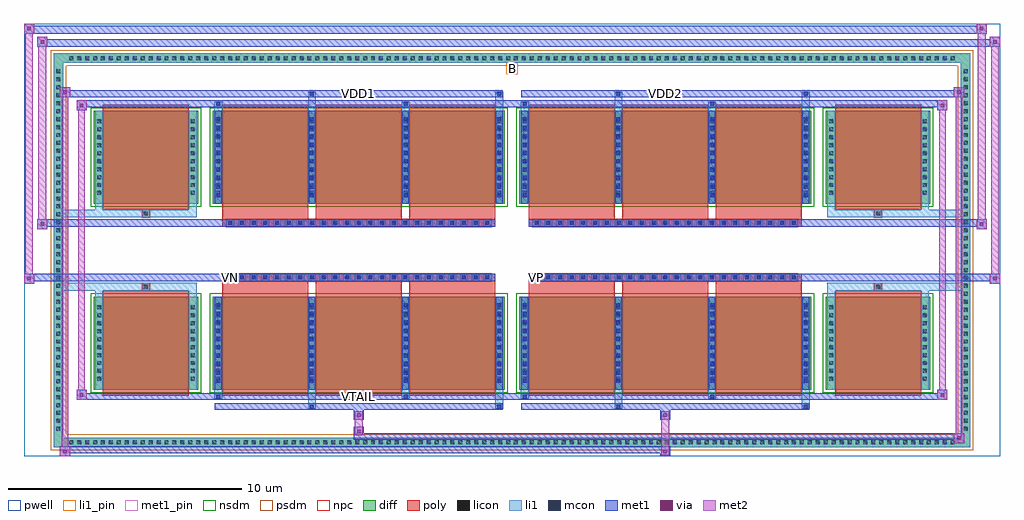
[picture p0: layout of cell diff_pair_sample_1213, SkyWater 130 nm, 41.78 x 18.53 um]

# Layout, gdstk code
import gdstk
lib = gdstk.Library(unit=1e-6, precision=5e-09)
def R(c, l, rs):  # rectangles x0, y0, x1, y1
    for r in rs: c.add(gdstk.rectangle(r[:2], r[2:], *l))
def A(c, l, x, y, w, h, nx, ny, dx, dy):  # array of equal rectangles
    R(c, l, [(x+i*dx, y+j*dy, x+i*dx+w, y+j*dy+h) for i in range(nx) for j in range(ny)])
def P(c, l, *ps):  # polygons
    for p in ps: c.add(gdstk.Polygon(p, *l))
pwell = (64, 44)
diff = (65, 20)
poly = (66, 20)
licon = (66, 44)
li1_pin = (67, 16)
li1 = (67, 20)
mcon = (67, 44)
met1_pin = (68, 16)
met1 = (68, 20)
via = (68, 44)
met2 = (69, 20)
nsdm = (93, 44)
psdm = (94, 20)
npc = (95, 20)

diff_pair_sample_1213 = lib.new_cell('diff_pair_sample_1213')
R(diff_pair_sample_1213, pwell, [(-20.89,-8.83,20.89,9.7), (-18.21,-7.02,-0.01,-0.8), (0.01,-7.02,18.21,-0.8), (-18.21,0.8,-0.01,7.02), (0.01,0.8,18.21,7.02)])
A(diff_pair_sample_1213, diff, -19.075, -8.43, 0.41, 0.41, 112, 2, 0.34, 16.45)
A(diff_pair_sample_1213, diff, -19.62, -7.855, 0.41, 0.41, 1, 46, 0, 0.34)
A(diff_pair_sample_1213, diff, 19.21, -7.855, 0.41, 0.41, 1, 46, 0, 0.34)
R(diff_pair_sample_1213, diff, [(-19.075,-8.43,19.075,-8.02), (-19.62,-7.855,-19.21,7.855), (19.21,-7.855,19.62,7.855), (-17.9,-5.975,-13.44,-1.985), (-12.8,-5.975,-0.32,-1.985), (0.32,-5.975,12.8,-1.985), (13.44,-5.975,17.9,-1.985), (-17.9,1.985,-13.44,5.975), (-12.8,1.985,-0.32,5.975), (0.32,1.985,12.8,5.975), (13.44,1.985,17.9,5.975), (-19.075,8.02,19.075,8.43)])
P(diff_pair_sample_1213, diff, [(19.62,8.43),(-19.62,8.43),(-19.62,-8.02),(-19.21,-8.02),(-19.21,8.02),(19.21,8.02),(19.21,-8.02),(-19.21,-8.02),(-19.62,-8.02),(-19.62,-8.43),(19.62,-8.43)])
A(diff_pair_sample_1213, poly, -12.41, -6.225, 3.68, 4.49, 3, 2, 4.01, 7.96)
A(diff_pair_sample_1213, poly, 0.71, -6.225, 3.68, 4.49, 3, 2, 4.01, 7.96)
A(diff_pair_sample_1213, poly, -12.41, -1.735, 3.68, 0.405, 3, 2, 4.01, 3.065)
A(diff_pair_sample_1213, poly, 0.71, -1.735, 3.68, 0.405, 3, 2, 4.01, 3.065)
A(diff_pair_sample_1213, poly, -12.225, -1.33, 0.33, 0.33, 23, 2, 0.5, 2.33)
A(diff_pair_sample_1213, poly, 0.895, -1.33, 0.33, 0.33, 23, 2, 0.5, 2.33)
R(diff_pair_sample_1213, poly, [(-17.51,-6.225,-13.83,-1.735), (13.83,-6.225,17.51,-1.735), (-15.835,-1.735,-15.505,-1.405), (-15.835,-1.735,-15.505,-1.405), (15.505,-1.735,15.835,-1.405), (15.505,-1.735,15.835,-1.405), (-12.41,-1.33,-0.71,-1), (0.71,-1.33,12.41,-1), (-12.41,1,-0.71,1.33), (0.71,1,12.41,1.33), (-15.835,1.405,-15.505,1.735), (-15.835,1.405,-15.505,1.735), (15.505,1.405,15.835,1.735), (15.505,1.405,15.835,1.735), (-17.51,1.735,-13.83,6.225), (13.83,1.735,17.51,6.225)])
A(diff_pair_sample_1213, licon, -18.955, -8.31, 0.17, 0.17, 112, 2, 0.34, 16.45)
A(diff_pair_sample_1213, licon, -19.5, -7.735, 0.17, 0.17, 1, 46, 0, 0.34)
A(diff_pair_sample_1213, licon, 19.33, -7.735, 0.17, 0.17, 1, 46, 0, 0.34)
A(diff_pair_sample_1213, licon, -17.76, -5.595, 0.17, 0.17, 1, 10, 0, 0.34)
A(diff_pair_sample_1213, licon, -13.75, -5.595, 0.17, 0.17, 1, 10, 0, 0.34)
A(diff_pair_sample_1213, licon, -12.66, -5.595, 0.17, 0.17, 4, 10, 4.01, 0.34)
A(diff_pair_sample_1213, licon, 0.46, -5.595, 0.17, 0.17, 4, 10, 4.01, 0.34)
A(diff_pair_sample_1213, licon, 13.58, -5.595, 0.17, 0.17, 1, 10, 0, 0.34)
A(diff_pair_sample_1213, licon, 17.59, -5.595, 0.17, 0.17, 1, 10, 0, 0.34)
A(diff_pair_sample_1213, licon, -12.145, -1.25, 0.17, 0.17, 23, 2, 0.5, 2.33)
A(diff_pair_sample_1213, licon, 0.975, -1.25, 0.17, 0.17, 23, 2, 0.5, 2.33)
A(diff_pair_sample_1213, licon, -17.76, 2.365, 0.17, 0.17, 1, 10, 0, 0.34)
A(diff_pair_sample_1213, licon, -13.75, 2.365, 0.17, 0.17, 1, 10, 0, 0.34)
A(diff_pair_sample_1213, licon, -12.66, 2.365, 0.17, 0.17, 4, 10, 4.01, 0.34)
A(diff_pair_sample_1213, licon, 0.46, 2.365, 0.17, 0.17, 4, 10, 4.01, 0.34)
A(diff_pair_sample_1213, licon, 13.58, 2.365, 0.17, 0.17, 1, 10, 0, 0.34)
A(diff_pair_sample_1213, licon, 17.59, 2.365, 0.17, 0.17, 1, 10, 0, 0.34)
R(diff_pair_sample_1213, licon, [(-15.755,-1.655,-15.585,-1.485), (15.585,-1.655,15.755,-1.485), (-15.755,1.485,-15.585,1.655), (15.585,1.485,15.755,1.655)])
R(diff_pair_sample_1213, li1_pin, [(-0.25,7.52,0.25,8.02)])
A(diff_pair_sample_1213, li1, -19.035, -8.39, 0.33, 0.33, 112, 2, 0.34, 16.45)
A(diff_pair_sample_1213, li1, -19.58, -7.815, 0.33, 0.33, 1, 46, 0, 0.34)
A(diff_pair_sample_1213, li1, 19.25, -7.815, 0.33, 0.33, 1, 46, 0, 0.34)
A(diff_pair_sample_1213, li1, -12.74, -5.975, 0.33, 3.99, 4, 2, 4.01, 7.96)
A(diff_pair_sample_1213, li1, 0.38, -5.975, 0.33, 3.99, 4, 2, 4.01, 7.96)
A(diff_pair_sample_1213, li1, -12.66, -5.685, 0.17, 0.17, 4, 10, 4.01, 0.36)
A(diff_pair_sample_1213, li1, -12.66, -5.685, 0.17, 3.41, 4, 2, 4.01, 7.96)
A(diff_pair_sample_1213, li1, 0.46, -5.685, 0.17, 0.17, 4, 10, 4.01, 0.36)
A(diff_pair_sample_1213, li1, 0.46, -5.685, 0.17, 3.41, 4, 2, 4.01, 7.96)
A(diff_pair_sample_1213, li1, -17.84, -5.675, 0.33, 0.33, 1, 10, 0, 0.34)
A(diff_pair_sample_1213, li1, -13.83, -5.675, 0.33, 0.33, 1, 10, 0, 0.34)
A(diff_pair_sample_1213, li1, -12.74, -5.675, 0.33, 0.33, 4, 10, 4.01, 0.34)
A(diff_pair_sample_1213, li1, 0.38, -5.675, 0.33, 0.33, 4, 10, 4.01, 0.34)
A(diff_pair_sample_1213, li1, 13.5, -5.675, 0.33, 0.33, 1, 10, 0, 0.34)
A(diff_pair_sample_1213, li1, 17.51, -5.675, 0.33, 0.33, 1, 10, 0, 0.34)
A(diff_pair_sample_1213, li1, -12.225, -1.33, 0.33, 0.33, 23, 2, 0.5, 2.33)
A(diff_pair_sample_1213, li1, 0.895, -1.33, 0.33, 0.33, 23, 2, 0.5, 2.33)
A(diff_pair_sample_1213, li1, -12.66, 2.275, 0.17, 0.17, 4, 10, 4.01, 0.36)
A(diff_pair_sample_1213, li1, 0.46, 2.275, 0.17, 0.17, 4, 10, 4.01, 0.36)
A(diff_pair_sample_1213, li1, -17.84, 2.285, 0.33, 0.33, 1, 10, 0, 0.34)
A(diff_pair_sample_1213, li1, -13.83, 2.285, 0.33, 0.33, 1, 10, 0, 0.34)
A(diff_pair_sample_1213, li1, -12.74, 2.285, 0.33, 0.33, 4, 10, 4.01, 0.34)
A(diff_pair_sample_1213, li1, 0.38, 2.285, 0.33, 0.33, 4, 10, 4.01, 0.34)
A(diff_pair_sample_1213, li1, 13.5, 2.285, 0.33, 0.33, 1, 10, 0, 0.34)
A(diff_pair_sample_1213, li1, 17.51, 2.285, 0.33, 0.33, 1, 10, 0, 0.34)
R(diff_pair_sample_1213, li1, [(-19.62,-8.43,-19.21,-8.02), (-19.62,-8.43,-19.21,-8.02), (-19.21,-8.43,19.21,-8.02), (19.21,-8.43,19.62,-8.02), (19.21,-8.43,19.62,-8.02), (-19.62,-8.02,-19.21,8.02), (19.21,-8.02,19.62,8.02), (-8.73,-6.78,-8.4,-5.975), (-8.65,-6.78,-8.48,-6.61), (-0.71,-6.78,-0.38,-5.975), (-0.63,-6.78,-0.46,-6.61), (4.39,-6.78,4.72,-5.975), (4.47,-6.78,4.64,-6.61), (12.41,-6.78,12.74,-5.975), (12.49,-6.78,12.66,-6.61), (-12.74,-6.35,-12.41,-5.975), (-12.66,-6.35,-12.49,-6.18), (-4.72,-6.35,-4.39,-5.975), (-4.64,-6.35,-4.47,-6.18), (0.38,-6.35,0.71,-5.975), (0.46,-6.35,0.63,-6.18), (8.4,-6.35,8.73,-5.975), (8.48,-6.35,8.65,-6.18), (-17.84,-5.975,-17.51,-1.985), (-13.83,-5.975,-13.5,-1.985), (13.5,-5.975,13.83,-1.985), (17.51,-5.975,17.84,-1.985), (-17.84,-1.985,-17.51,-1.405), (-13.83,-1.985,-13.5,-1.405), (13.5,-1.985,13.83,-1.405), (17.51,-1.985,17.84,-1.405), (-19.62,-1.735,-15.835,-1.405), (-17.84,-1.735,-15.835,-1.405), (-15.835,-1.735,-15.505,-1.405), (-15.505,-1.735,-13.5,-1.405), (13.5,-1.735,15.505,-1.405), (15.505,-1.735,15.835,-1.405), (15.505,-1.735,19.62,-1.405), (15.835,-1.735,17.84,-1.405), (-19.62,1.405,-15.835,1.735), (-17.84,1.405,-15.835,1.735), (-17.84,1.405,-17.51,1.985), (-15.835,1.405,-15.505,1.735), (-15.505,1.405,-13.5,1.735), (-13.83,1.405,-13.5,1.985), (13.5,1.405,15.505,1.735), (13.5,1.405,13.83,1.985), (15.505,1.405,15.835,1.735), (15.505,1.405,19.62,1.735), (15.835,1.405,17.84,1.735), (17.51,1.405,17.84,1.985), (-17.84,1.985,-17.51,5.975), (-13.83,1.985,-13.5,5.975), (13.5,1.985,13.83,5.975), (17.51,1.985,17.84,5.975), (-12.74,5.975,-12.41,6.35), (-8.73,5.975,-8.4,6.78), (-4.72,5.975,-4.39,6.35), (-0.71,5.975,-0.38,6.78), (0.38,5.975,0.71,6.35), (4.39,5.975,4.72,6.78), (8.4,5.975,8.73,6.35), (12.41,5.975,12.74,6.78), (-12.66,6.18,-12.49,6.35), (-4.64,6.18,-4.47,6.35), (0.46,6.18,0.63,6.35), (8.48,6.18,8.65,6.35), (-8.65,6.61,-8.48,6.78), (-0.63,6.61,-0.46,6.78), (4.47,6.61,4.64,6.78), (12.49,6.61,12.66,6.78), (-19.62,8.02,-19.21,8.43), (-19.62,8.02,-19.21,8.43), (-19.21,8.02,19.21,8.43), (19.21,8.02,19.62,8.43), (19.21,8.02,19.62,8.43)])
A(diff_pair_sample_1213, mcon, -12.66, -5.685, 0.17, 0.17, 4, 10, 4.01, 0.36)
A(diff_pair_sample_1213, mcon, 0.46, -5.685, 0.17, 0.17, 4, 10, 4.01, 0.36)
A(diff_pair_sample_1213, mcon, -12.145, -1.25, 0.17, 0.17, 23, 2, 0.5, 2.33)
A(diff_pair_sample_1213, mcon, 0.975, -1.25, 0.17, 0.17, 23, 2, 0.5, 2.33)
A(diff_pair_sample_1213, mcon, -12.66, 2.275, 0.17, 0.17, 4, 10, 4.01, 0.36)
A(diff_pair_sample_1213, mcon, 0.46, 2.275, 0.17, 0.17, 4, 10, 4.01, 0.36)
R(diff_pair_sample_1213, mcon, [(-8.65,-6.78,-8.48,-6.61), (-0.63,-6.78,-0.46,-6.61), (4.47,-6.78,4.64,-6.61), (12.49,-6.78,12.66,-6.61), (-12.66,-6.35,-12.49,-6.18), (-4.64,-6.35,-4.47,-6.18), (0.46,-6.35,0.63,-6.18), (8.48,-6.35,8.65,-6.18), (-12.66,6.18,-12.49,6.35), (-4.64,6.18,-4.47,6.35), (0.46,6.18,0.63,6.35), (8.48,6.18,8.65,6.35), (-8.65,6.61,-8.48,6.78), (-0.63,6.61,-0.46,6.78), (4.47,6.61,4.64,6.78), (12.49,6.61,12.66,6.78)])
R(diff_pair_sample_1213, met1_pin, [(-6.695,-6.39,-6.425,-6.12), (-12.195,-1.29,-11.925,-1.02), (0.925,-1.29,1.195,-1.02), (-6.695,6.57,-6.425,6.84), (6.425,6.57,6.695,6.84)])
A(diff_pair_sample_1213, met1, -12.72, -5.975, 0.29, 3.99, 4, 2, 4.01, 7.96)
A(diff_pair_sample_1213, met1, 0.4, -5.975, 0.29, 3.99, 4, 2, 4.01, 7.96)
A(diff_pair_sample_1213, met1, -12.72, -5.745, 0.29, 0.29, 4, 10, 4.01, 0.36)
A(diff_pair_sample_1213, met1, 0.4, -5.745, 0.29, 0.29, 4, 10, 4.01, 0.36)
A(diff_pair_sample_1213, met1, -12.205, -1.31, 0.29, 0.29, 23, 2, 0.5, 2.33)
A(diff_pair_sample_1213, met1, 0.915, -1.31, 0.29, 0.29, 23, 2, 0.5, 2.33)
A(diff_pair_sample_1213, met1, -12.72, 2.215, 0.29, 0.29, 4, 10, 4.01, 0.36)
A(diff_pair_sample_1213, met1, 0.4, 2.215, 0.29, 0.29, 4, 10, 4.01, 0.36)
R(diff_pair_sample_1213, met1, [(-19.35,-8.83,-18.92,-8.4), (6.345,-8.83,6.775,-8.4), (-19.35,-8.69,6.775,-8.4), (18.92,-8.26,19.35,-7.83), (-6.775,-8.12,19.35,-7.83), (-6.775,-7.98,-6.345,-7.55), (-6.775,-7.27,-6.345,-6.84), (6.345,-7.27,6.775,-6.84), (-12.72,-6.84,-0.4,-6.55), (-8.71,-6.84,-8.42,-6.55), (-0.69,-6.84,-0.4,-6.55), (0.4,-6.84,12.72,-6.55), (4.41,-6.84,4.7,-6.55), (12.43,-6.84,12.72,-6.55), (-18.64,-6.41,-18.21,-5.98), (-18.64,-6.41,-12.72,-6.12), (-12.72,-6.41,-12.43,-6.12), (-12.72,-6.41,-0.4,-6.12), (-4.7,-6.41,-4.41,-6.12), (-0.4,-6.41,0.4,-6.12), (0.4,-6.41,0.69,-6.12), (0.4,-6.41,12.72,-6.12), (8.42,-6.41,8.71,-6.12), (12.72,-6.41,18.64,-6.12), (18.21,-6.41,18.64,-5.98), (-20.89,-1.43,-20.46,-1), (20.46,-1.43,20.89,-1), (-20.89,-1.33,-0.71,-1), (-12.41,-1.33,-0.71,-1), (0.71,-1.33,12.41,-1), (0.71,-1.33,20.89,-1), (-20.32,0.9,-19.89,1.33), (19.89,0.9,20.32,1.33), (-20.32,1,-12.41,1.33), (-12.41,1,-0.71,1.33), (0.71,1,12.41,1.33), (12.41,1,20.32,1.33), (-18.64,5.98,-18.21,6.41), (18.21,5.98,18.64,6.41), (-18.64,6.12,-12.72,6.41), (-12.72,6.12,-12.43,6.41), (-12.72,6.12,-0.4,6.41), (-4.7,6.12,-4.41,6.41), (-0.4,6.12,0.4,6.41), (0.4,6.12,0.69,6.41), (0.4,6.12,12.72,6.41), (8.42,6.12,8.71,6.41), (12.72,6.12,18.64,6.41), (-19.35,6.55,-18.92,6.98), (-19.35,6.55,-12.72,6.84), (-12.72,6.55,-0.4,6.84), (-8.71,6.55,-8.42,6.84), (-0.69,6.55,-0.4,6.84), (0.4,6.55,12.72,6.84), (4.41,6.55,4.7,6.84), (12.43,6.55,12.72,6.84), (12.72,6.55,19.35,6.84), (18.92,6.55,19.35,6.98), (-20.32,8.7,-19.89,9.13), (-20.32,8.7,-18.21,9.03), (-18.21,8.7,18.21,9.03), (18.21,8.7,20.89,9.03), (20.46,8.7,20.89,9.13), (-20.89,9.27,-20.46,9.7), (-20.89,9.27,-18.21,9.6), (-18.21,9.27,18.21,9.6), (18.21,9.27,20.32,9.6), (19.89,9.27,20.32,9.7)])
R(diff_pair_sample_1213, via, [(-19.21,-8.69,-19.06,-8.54), (6.485,-8.69,6.635,-8.54), (19.06,-8.12,19.21,-7.97), (-6.635,-7.84,-6.485,-7.69), (-6.635,-7.13,-6.485,-6.98), (6.485,-7.13,6.635,-6.98), (-18.5,-6.27,-18.35,-6.12), (18.35,-6.27,18.5,-6.12), (-20.75,-1.29,-20.6,-1.14), (20.6,-1.29,20.75,-1.14), (-20.18,1.04,-20.03,1.19), (20.03,1.04,20.18,1.19), (-18.5,6.12,-18.35,6.27), (18.35,6.12,18.5,6.27), (-19.21,6.69,-19.06,6.84), (19.06,6.69,19.21,6.84), (-20.18,8.84,-20.03,8.99), (20.6,8.84,20.75,8.99), (-20.75,9.41,-20.6,9.56), (20.03,9.41,20.18,9.56)])
R(diff_pair_sample_1213, met2, [(-19.35,-8.83,-18.92,-8.4), (-19.28,-8.83,-18.99,6.98), (-18.99,-8.83,-18.92,-8.4), (-19.3,-8.78,-18.97,-8.45), (6.395,-8.78,6.725,-8.45), (6.395,-8.45,6.725,-7.22), (18.92,-8.26,19.35,-7.83), (18.99,-8.26,19.28,6.98), (19.28,-8.26,19.35,-7.83), (18.97,-8.21,19.3,-7.88), (-6.725,-7.93,-6.395,-7.6), (-6.725,-7.6,-6.395,-7.22), (-6.725,-7.22,-6.395,-6.89), (6.395,-7.22,6.725,-6.89), (-18.64,-6.41,-18.21,-5.98), (-18.57,-6.41,-18.28,6.41), (-18.28,-6.41,-18.21,-5.98), (18.21,-6.41,18.64,-5.98), (18.28,-6.41,18.57,6.41), (18.57,-6.41,18.64,-5.98), (-18.59,-6.36,-18.26,-6.03), (18.26,-6.36,18.59,-6.03), (-20.89,-1.43,-20.46,-1), (-20.84,-1.43,-20.51,9.7), (-20.51,-1.43,-20.46,-1), (20.46,-1.43,20.89,-1), (20.51,-1.43,20.84,9.13), (20.84,-1.43,20.89,-1), (-20.84,-1.38,-20.51,-1.05), (20.51,-1.38,20.84,-1.05), (-20.32,0.9,-19.89,1.33), (-20.27,0.9,-19.94,9.13), (-19.94,0.9,-19.89,1.33), (19.89,0.9,20.32,1.33), (19.94,0.9,20.27,9.7), (20.27,0.9,20.32,1.33), (-20.27,0.95,-19.94,1.28), (19.94,0.95,20.27,1.28), (-18.64,5.98,-18.21,6.41), (-18.28,5.98,-18.21,6.41), (18.21,5.98,18.64,6.41), (18.57,5.98,18.64,6.41), (-18.59,6.03,-18.26,6.36), (18.26,6.03,18.59,6.36), (-19.35,6.55,-18.92,6.98), (-18.99,6.55,-18.92,6.98), (18.92,6.55,19.35,6.98), (19.28,6.55,19.35,6.98), (-19.3,6.6,-18.97,6.93), (18.97,6.6,19.3,6.93), (-20.32,8.7,-19.89,9.13), (-19.94,8.7,-19.89,9.13), (20.46,8.7,20.89,9.13), (20.84,8.7,20.89,9.13), (-20.27,8.75,-19.94,9.08), (20.51,8.75,20.84,9.08), (-20.89,9.27,-20.46,9.7), (-20.51,9.27,-20.46,9.7), (19.89,9.27,20.32,9.7), (20.27,9.27,20.32,9.7), (-20.84,9.32,-20.51,9.65), (19.94,9.32,20.27,9.65)])
R(diff_pair_sample_1213, nsdm, [(-18.03,-6.105,-13.31,-1.855), (-12.93,-6.105,-0.19,-1.855), (0.19,-6.105,12.93,-1.855), (13.31,-6.105,18.03,-1.855), (-18.03,1.855,-13.31,6.105), (-12.93,1.855,-0.19,6.105), (0.19,1.855,12.93,6.105), (13.31,1.855,18.03,6.105)])
P(diff_pair_sample_1213, psdm, [(19.75,8.56),(-19.75,8.56),(-19.75,-7.89),(-19.08,-7.89),(-19.08,7.89),(19.08,7.89),(19.08,-7.89),(-19.08,-7.89),(-19.75,-7.89),(-19.75,-8.56),(19.75,-8.56)])
A(diff_pair_sample_1213, npc, -12.245, -1.35, 0.37, 0.37, 23, 2, 0.5, 2.33)
A(diff_pair_sample_1213, npc, 0.875, -1.35, 0.37, 0.37, 23, 2, 0.5, 2.33)
R(diff_pair_sample_1213, npc, [(-15.855,-1.755,-15.485,-1.385), (15.485,-1.755,15.855,-1.385), (-12.245,-1.35,-11.375,-0.98), (-12.245,-1.35,-11.375,-0.98), (-11.745,-1.35,-10.875,-0.98), (-11.745,-1.35,-10.875,-0.98), (-11.245,-1.35,-10.375,-0.98), (-11.245,-1.35,-10.375,-0.98), (-10.745,-1.35,-9.875,-0.98), (-10.745,-1.35,-9.875,-0.98), (-10.245,-1.35,-9.375,-0.98), (-10.245,-1.35,-9.375,-0.98), (-9.745,-1.35,-8.875,-0.98), (-9.745,-1.35,-8.875,-0.98), (-9.245,-1.35,-8.375,-0.98), (-9.245,-1.35,-8.375,-0.98), (-8.745,-1.35,-7.875,-0.98), (-8.745,-1.35,-7.875,-0.98), (-8.245,-1.35,-7.375,-0.98), (-8.245,-1.35,-7.375,-0.98), (-7.745,-1.35,-6.875,-0.98), (-7.745,-1.35,-6.875,-0.98), (-7.245,-1.35,-6.375,-0.98), (-7.245,-1.35,-6.375,-0.98), (-6.745,-1.35,-5.875,-0.98), (-6.745,-1.35,-5.875,-0.98), (-6.245,-1.35,-5.375,-0.98), (-6.245,-1.35,-5.375,-0.98), (-5.745,-1.35,-4.875,-0.98), (-5.745,-1.35,-4.875,-0.98), (-5.245,-1.35,-4.375,-0.98), (-5.245,-1.35,-4.375,-0.98), (-4.745,-1.35,-3.875,-0.98), (-4.745,-1.35,-3.875,-0.98), (-4.245,-1.35,-3.375,-0.98), (-4.245,-1.35,-3.375,-0.98), (-3.745,-1.35,-2.875,-0.98), (-3.745,-1.35,-2.875,-0.98), (-3.245,-1.35,-2.375,-0.98), (-3.245,-1.35,-2.375,-0.98), (-2.745,-1.35,-1.875,-0.98), (-2.745,-1.35,-1.875,-0.98), (-2.245,-1.35,-1.375,-0.98), (-2.245,-1.35,-1.375,-0.98), (-1.745,-1.35,-0.875,-0.98), (-1.745,-1.35,-0.875,-0.98), (0.875,-1.35,1.745,-0.98), (0.875,-1.35,1.745,-0.98), (1.375,-1.35,2.245,-0.98), (1.375,-1.35,2.245,-0.98), (1.875,-1.35,2.745,-0.98), (1.875,-1.35,2.745,-0.98), (2.375,-1.35,3.245,-0.98), (2.375,-1.35,3.245,-0.98), (2.875,-1.35,3.745,-0.98), (2.875,-1.35,3.745,-0.98), (3.375,-1.35,4.245,-0.98), (3.375,-1.35,4.245,-0.98), (3.875,-1.35,4.745,-0.98), (3.875,-1.35,4.745,-0.98), (4.375,-1.35,5.245,-0.98), (4.375,-1.35,5.245,-0.98), (4.875,-1.35,5.745,-0.98), (4.875,-1.35,5.745,-0.98), (5.375,-1.35,6.245,-0.98), (5.375,-1.35,6.245,-0.98), (5.875,-1.35,6.745,-0.98), (5.875,-1.35,6.745,-0.98), (6.375,-1.35,7.245,-0.98), (6.375,-1.35,7.245,-0.98), (6.875,-1.35,7.745,-0.98), (6.875,-1.35,7.745,-0.98), (7.375,-1.35,8.245,-0.98), (7.375,-1.35,8.245,-0.98), (7.875,-1.35,8.745,-0.98), (7.875,-1.35,8.745,-0.98), (8.375,-1.35,9.245,-0.98), (8.375,-1.35,9.245,-0.98), (8.875,-1.35,9.745,-0.98), (8.875,-1.35,9.745,-0.98), (9.375,-1.35,10.245,-0.98), (9.375,-1.35,10.245,-0.98), (9.875,-1.35,10.745,-0.98), (9.875,-1.35,10.745,-0.98), (10.375,-1.35,11.245,-0.98), (10.375,-1.35,11.245,-0.98), (10.875,-1.35,11.745,-0.98), (10.875,-1.35,11.745,-0.98), (11.375,-1.35,12.245,-0.98), (11.375,-1.35,12.245,-0.98), (-12.245,0.98,-11.375,1.35), (-12.245,0.98,-11.375,1.35), (-11.745,0.98,-10.875,1.35), (-11.745,0.98,-10.875,1.35), (-11.245,0.98,-10.375,1.35), (-11.245,0.98,-10.375,1.35), (-10.745,0.98,-9.875,1.35), (-10.745,0.98,-9.875,1.35), (-10.245,0.98,-9.375,1.35), (-10.245,0.98,-9.375,1.35), (-9.745,0.98,-8.875,1.35), (-9.745,0.98,-8.875,1.35), (-9.245,0.98,-8.375,1.35), (-9.245,0.98,-8.375,1.35), (-8.745,0.98,-7.875,1.35), (-8.745,0.98,-7.875,1.35), (-8.245,0.98,-7.375,1.35), (-8.245,0.98,-7.375,1.35), (-7.745,0.98,-6.875,1.35), (-7.745,0.98,-6.875,1.35), (-7.245,0.98,-6.375,1.35), (-7.245,0.98,-6.375,1.35), (-6.745,0.98,-5.875,1.35), (-6.745,0.98,-5.875,1.35), (-6.245,0.98,-5.375,1.35), (-6.245,0.98,-5.375,1.35), (-5.745,0.98,-4.875,1.35), (-5.745,0.98,-4.875,1.35), (-5.245,0.98,-4.375,1.35), (-5.245,0.98,-4.375,1.35), (-4.745,0.98,-3.875,1.35), (-4.745,0.98,-3.875,1.35), (-4.245,0.98,-3.375,1.35), (-4.245,0.98,-3.375,1.35), (-3.745,0.98,-2.875,1.35), (-3.745,0.98,-2.875,1.35), (-3.245,0.98,-2.375,1.35), (-3.245,0.98,-2.375,1.35), (-2.745,0.98,-1.875,1.35), (-2.745,0.98,-1.875,1.35), (-2.245,0.98,-1.375,1.35), (-2.245,0.98,-1.375,1.35), (-1.745,0.98,-0.875,1.35), (-1.745,0.98,-0.875,1.35), (0.875,0.98,1.745,1.35), (0.875,0.98,1.745,1.35), (1.375,0.98,2.245,1.35), (1.375,0.98,2.245,1.35), (1.875,0.98,2.745,1.35), (1.875,0.98,2.745,1.35), (2.375,0.98,3.245,1.35), (2.375,0.98,3.245,1.35), (2.875,0.98,3.745,1.35), (2.875,0.98,3.745,1.35), (3.375,0.98,4.245,1.35), (3.375,0.98,4.245,1.35), (3.875,0.98,4.745,1.35), (3.875,0.98,4.745,1.35), (4.375,0.98,5.245,1.35), (4.375,0.98,5.245,1.35), (4.875,0.98,5.745,1.35), (4.875,0.98,5.745,1.35), (5.375,0.98,6.245,1.35), (5.375,0.98,6.245,1.35), (5.875,0.98,6.745,1.35), (5.875,0.98,6.745,1.35), (6.375,0.98,7.245,1.35), (6.375,0.98,7.245,1.35), (6.875,0.98,7.745,1.35), (6.875,0.98,7.745,1.35), (7.375,0.98,8.245,1.35), (7.375,0.98,8.245,1.35), (7.875,0.98,8.745,1.35), (7.875,0.98,8.745,1.35), (8.375,0.98,9.245,1.35), (8.375,0.98,9.245,1.35), (8.875,0.98,9.745,1.35), (8.875,0.98,9.745,1.35), (9.375,0.98,10.245,1.35), (9.375,0.98,10.245,1.35), (9.875,0.98,10.745,1.35), (9.875,0.98,10.745,1.35), (10.375,0.98,11.245,1.35), (10.375,0.98,11.245,1.35), (10.875,0.98,11.745,1.35), (10.875,0.98,11.745,1.35), (11.375,0.98,12.245,1.35), (11.375,0.98,12.245,1.35), (-15.855,1.385,-15.485,1.755), (15.485,1.385,15.855,1.755)])
diff_pair_sample_1213.add(gdstk.Label('VTAIL', (-6.56,-6.255), layer=68, texttype=5))
diff_pair_sample_1213.add(gdstk.Label('VN', (-12.06,-1.155), layer=68, texttype=5))
diff_pair_sample_1213.add(gdstk.Label('VP', (1.06,-1.155), layer=68, texttype=5))
diff_pair_sample_1213.add(gdstk.Label('B', (0,7.77), layer=67, texttype=5))
diff_pair_sample_1213.add(gdstk.Label('VDD2', (6.56,6.705), layer=68, texttype=5))
diff_pair_sample_1213.add(gdstk.Label('VDD1', (-6.56,6.705), layer=68, texttype=5))

lib.write_gds('diff_pair_sample_1213.gds')
